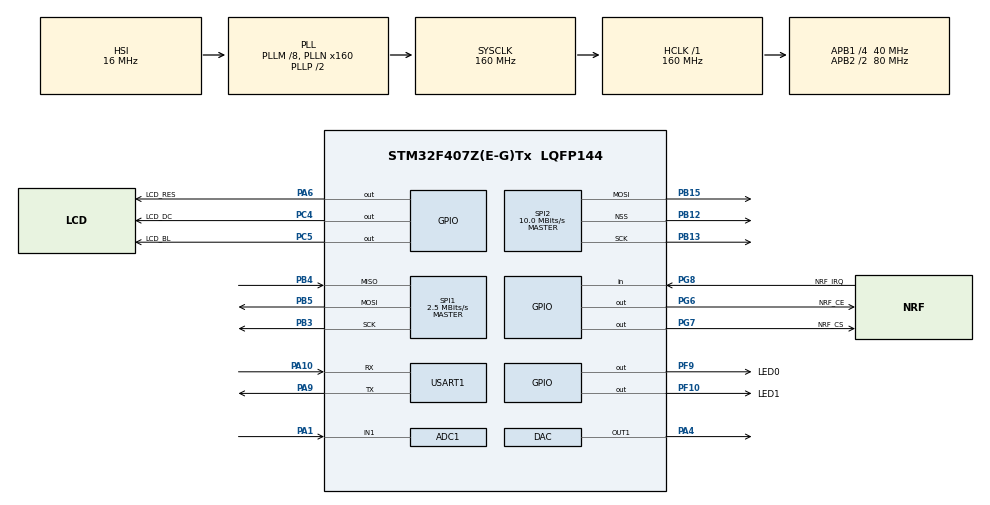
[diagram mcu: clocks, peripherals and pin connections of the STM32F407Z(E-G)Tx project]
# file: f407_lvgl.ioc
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ADC1.Channel-1\#ChannelRegularConversion=ADC_CHANNEL_1
ADC1.ExternalTrigConv=ADC_EXTERNALTRIGCONV_T3_TRGO
ADC1.NbrOfConversion=1
ADC1.NbrOfConversionFlag=1
ADC1.Rank-1\#ChannelRegularConversion=1
ADC1.SamplingTime-1\#ChannelRegularConversion=ADC_SAMPLETIME_15CYCLES
ADC1.master=1
DAC.DAC_Trigger=DAC_TRIGGER_T5_TRGO
Dma.ADC1.2.Direction=DMA_PERIPH_TO_MEMORY
Dma.ADC1.2.FIFOMode=DMA_FIFOMODE_DISABLE
Dma.ADC1.2.Instance=DMA2_Stream0
Dma.ADC1.2.MemDataAlignment=DMA_MDATAALIGN_HALFWORD
Dma.ADC1.2.MemInc=DMA_MINC_ENABLE
Dma.ADC1.2.Mode=DMA_NORMAL
Dma.ADC1.2.PeriphDataAlignment=DMA_PDATAALIGN_HALFWORD
Dma.ADC1.2.PeriphInc=DMA_PINC_DISABLE
Dma.ADC1.2.Priority=DMA_PRIORITY_MEDIUM
Dma.DAC1.1.Direction=DMA_MEMORY_TO_PERIPH
Dma.DAC1.1.FIFOMode=DMA_FIFOMODE_DISABLE
Dma.DAC1.1.Instance=DMA1_Stream5
Dma.DAC1.1.MemDataAlignment=DMA_MDATAALIGN_HALFWORD
Dma.DAC1.1.MemInc=DMA_MINC_ENABLE
Dma.DAC1.1.Mode=DMA_NORMAL
Dma.DAC1.1.PeriphDataAlignment=DMA_PDATAALIGN_HALFWORD
Dma.DAC1.1.PeriphInc=DMA_PINC_DISABLE
Dma.DAC1.1.Priority=DMA_PRIORITY_MEDIUM
Dma.Request0=SPI2_TX
Dma.Request1=DAC1
Dma.Request2=ADC1
Dma.SPI2_TX.0.Direction=DMA_MEMORY_TO_PERIPH
Dma.SPI2_TX.0.FIFOMode=DMA_FIFOMODE_DISABLE
Dma.SPI2_TX.0.Instance=DMA1_Stream4
Dma.SPI2_TX.0.MemDataAlignment=DMA_MDATAALIGN_BYTE
Dma.SPI2_TX.0.MemInc=DMA_MINC_ENABLE
Dma.SPI2_TX.0.Mode=DMA_NORMAL
Dma.SPI2_TX.0.PeriphDataAlignment=DMA_PDATAALIGN_BYTE
Dma.SPI2_TX.0.PeriphInc=DMA_PINC_DISABLE
Dma.SPI2_TX.0.Priority=DMA_PRIORITY_MEDIUM
Mcu.Family=STM32F4
Mcu.Name=STM32F407Z(E-G)Tx
Mcu.Package=LQFP144
NVIC.ADC_IRQn=true\:0\:0\:false\:false\:true\:true\:true\:true
NVIC.DMA1_Stream4_IRQn=true\:0\:0\:false\:false\:true\:false\:true\:true
NVIC.DMA1_Stream5_IRQn=true\:0\:0\:false\:false\:true\:false\:true\:true
NVIC.DMA2_Stream0_IRQn=true\:0\:0\:false\:false\:true\:false\:true\:true
NVIC.PriorityGroup=NVIC_PRIORITYGROUP_4
NVIC.SPI2_IRQn=true\:0\:0\:false\:false\:true\:true\:true\:true
NVIC.TIM6_DAC_IRQn=true\:0\:0\:false\:false\:true\:true\:true\:true
NVIC.USART1_IRQn=true\:0\:0\:false\:false\:true\:true\:true\:true
PA1.Signal=ADCx_IN1
PA10.Mode=Asynchronous
PA10.Signal=USART1_RX
PA13.Mode=Serial_Wire
PA13.Signal=SYS_JTMS-SWDIO
PA14.Mode=Serial_Wire
PA14.Signal=SYS_JTCK-SWCLK
PA4.Signal=COMP_DAC1_group
PA6.GPIO_Label=LCD_RES
PA6.Signal=GPIO_Output
PA9.Mode=Asynchronous
PA9.Signal=USART1_TX
PB12.Mode=NSS_Signal_Hard_Output
PB12.Signal=SPI2_NSS
PB13.Mode=TX_Only_Simplex_Unidirect_Master
PB13.Signal=SPI2_SCK
PB15.Mode=TX_Only_Simplex_Unidirect_Master
PB15.Signal=SPI2_MOSI
PB3.Mode=Full_Duplex_Master
PB3.Signal=SPI1_SCK
PB4.Mode=Full_Duplex_Master
PB4.Signal=SPI1_MISO
PB5.Mode=Full_Duplex_Master
PB5.Signal=SPI1_MOSI
PC4.GPIO_Label=LCD_DC
PC4.Signal=GPIO_Output
PC5.GPIO_Label=LCD_BL
PC5.Signal=GPIO_Output
PF10.GPIO_Label=LED1
PF10.Signal=GPIO_Output
PF9.GPIO_Label=LED0
PF9.Signal=GPIO_Output
PG6.GPIO_Label=NRF_CE
PG6.Signal=GPIO_Output
PG7.GPIO_Label=NRF_CS
PG7.Signal=GPIO_Output
PG8.GPIO_Label=NRF_IRQ
PG8.Signal=GPIO_Input
PH0-OSC_IN.Mode=HSE-External-Clock-Source
PH0-OSC_IN.Signal=RCC_OSC_IN
PH1-OSC_OUT.Mode=HSE-External-Clock-Source
PH1-OSC_OUT.Signal=RCC_OSC_OUT
ProjectManager.HeapSize=0x2000
ProjectManager.StackSize=0x2000
ProjectManager.TargetToolchain=Makefile
RCC.48MHZClocksFreq_Value=80000000
RCC.AHBFreq_Value=160000000
RCC.APB1CLKDivider=RCC_HCLK_DIV4
RCC.APB1Freq_Value=40000000
RCC.APB1TimFreq_Value=80000000
RCC.APB2CLKDivider=RCC_HCLK_DIV2
RCC.APB2Freq_Value=80000000
RCC.APB2TimFreq_Value=160000000
RCC.CortexFreq_Value=160000000
RCC.HCLKFreq_Value=160000000
RCC.HSE_VALUE=8000000
RCC.HSI_VALUE=16000000
RCC.LSE_VALUE=32768
RCC.PLLM=8
RCC.PLLN=160
RCC.SYSCLKFreq_VALUE=160000000
RCC.SYSCLKSource=RCC_SYSCLKSOURCE_PLLCLK
RCC.VCOOutputFreq_Value=320000000
SH.ADCx_IN1.0=ADC1_IN1,IN1
SH.COMP_DAC1_group.0=DAC_OUT1,DAC_OUT1
SPI1.BaudRatePrescaler=SPI_BAUDRATEPRESCALER_32
SPI1.CalculateBaudRate=2.5 MBits/s
SPI1.Direction=SPI_DIRECTION_2LINES
SPI1.Mode=SPI_MODE_MASTER
SPI1.VirtualType=VM_MASTER
SPI2.BaudRatePrescaler=SPI_BAUDRATEPRESCALER_4
SPI2.CalculateBaudRate=10.0 MBits/s
SPI2.Direction=SPI_DIRECTION_2LINES
SPI2.Mode=SPI_MODE_MASTER
SPI2.VirtualNSS=VM_NSSHARD
SPI2.VirtualType=VM_MASTER
TIM3.AutoReloadPreload=TIM_AUTORELOAD_PRELOAD_ENABLE
TIM3.Period=8330
TIM3.Prescaler=0
TIM3.TIM_MasterOutputTrigger=TIM_TRGO_UPDATE
TIM5.AutoReloadPreload=TIM_AUTORELOAD_PRELOAD_ENABLE
TIM5.Channel-Output\ Compare1\ No\ Output=TIM_CHANNEL_1
TIM5.Period=8330
TIM5.TIM_MasterOutputTrigger=TIM_TRGO_UPDATE
USART1.VirtualMode=VM_ASYNC
VP_TIM3_VS_ClockSourceINT.Mode=Internal
VP_TIM5_VS_no_output1.Mode=Output Compare1 No Output
board=custom

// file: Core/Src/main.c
/* USER CODE BEGIN Header */
/**
  ******************************************************************************
  * @file           : main.c
  * @brief          : Main program body
  ******************************************************************************
  * @attention
  *
  * Copyright (c) 2023 STMicroelectronics.
  * All rights reserved.
  *
  * This software is licensed under terms that can be found in the LICENSE file
  * in the root directory of this software component.
  * If no LICENSE file comes with this software, it is provided AS-IS.
  *
  ******************************************************************************
  */
/* USER CODE END Header */
#include "main.h"

/* USER CODE BEGIN Includes */
#include "lvgl.h"
#include "lv_port_disp.h"
#include "transport.h"
#include "audio.h"
#include "Ci24R1.h"
/* USER CODE END Includes */

/* USER CODE BEGIN PD */
#define MODE_24L01_IS_RX (0)
/* USER CODE END PD */

ADC_HandleTypeDef hadc1;
DMA_HandleTypeDef hdma_adc1;

DAC_HandleTypeDef hdac;
DMA_HandleTypeDef hdma_dac1;

SPI_HandleTypeDef hspi1;
SPI_HandleTypeDef hspi2;
DMA_HandleTypeDef hdma_spi2_tx;

TIM_HandleTypeDef htim3;
TIM_HandleTypeDef htim5;

UART_HandleTypeDef huart1;

/* USER CODE BEGIN PV */
uint32_t timestamp;
/* USER CODE END PV */

void SystemClock_Config(void);
static void MX_GPIO_Init(void);
static void MX_DMA_Init(void);
static void MX_USART1_UART_Init(void);
static void MX_ADC1_Init(void);
static void MX_SPI2_Init(void);
static void MX_DAC_Init(void);
static void MX_TIM3_Init(void);
static void MX_TIM5_Init(void);
static void MX_SPI1_Init(void);

int main(void)
{

  /* MCU Configuration--------------------------------------------------------*/

  /* Reset of all peripherals, Initializes the Flash interface and the Systick. */
  HAL_Init();

  /* Configure the system clock */
  SystemClock_Config();

  /* Initialize all configured peripherals */
  MX_GPIO_Init();
  MX_DMA_Init();
  MX_USART1_UART_Init();
  MX_ADC1_Init();
  MX_SPI2_Init();
  MX_DAC_Init();
  MX_TIM3_Init();
  MX_TIM5_Init();
  MX_SPI1_Init();
  /* USER CODE BEGIN 2 */
  HAL_Delay(500); // 延时等屏幕上电
  lv_init(); /* lvgl 系统初始化 */
  lv_port_disp_init(); /* lvgl 显示接口初始化,放在 lv_init()的后面 */
  lv_obj_t *label = lv_label_create(lv_scr_act());
  lv_label_set_text(label, "Hello LVGL  :- )");
  lv_obj_center(label);

  // timestamp = HAL_GetTick();
  // for(int i = 0; i < 100; i++){
  //   transport_test();
  // }
  // volatile uint32_t diffTime = HAL_GetTick() - timestamp;

  audio_init();

  Ci24R1_Init();
  while(Ci24R1_Check()==1);
#if MODE_24L01_IS_RX
  Ci24R1_RX_Mode();
#else
  Ci24R1_TX_Mode();
#endif
  /* USER CODE END 2 */

  /* Infinite loop */
  /* USER CODE BEGIN WHILE */
  while (1)
  {
  #if MODE_24L01_IS_RX
    if (HAL_GetTick() - timestamp >= 1) {
  #else
    if (HAL_GetTick() - timestamp >= 3) {
  #endif
      timestamp = HAL_GetTick();
      HAL_GPIO_TogglePin(LED0_GPIO_Port, LED0_Pin);
    #if MODE_24L01_IS_RX
      if(!Ci24R1_RxPacket()) {
        HAL_GPIO_TogglePin(LED1_GPIO_Port, LED1_Pin);    // 接收成功 闪灯提示
      }
    #else
      if(TX_OK == Ci24R1_TxPacket()) {
        HAL_GPIO_TogglePin(LED1_GPIO_Port, LED1_Pin);    // 接收成功 闪灯提示
      }
    #endif
    }
    lv_timer_handler();
    audio_main();
    /* USER CODE END WHILE */

  }
}

void SystemClock_Config(void)
{
  RCC_OscInitTypeDef RCC_OscInitStruct = {0};
  RCC_ClkInitTypeDef RCC_ClkInitStruct = {0};

  /** Configure the main internal regulator output voltage
  */
  __HAL_RCC_PWR_CLK_ENABLE();
  __HAL_PWR_VOLTAGESCALING_CONFIG(PWR_REGULATOR_VOLTAGE_SCALE1);

  /** Initializes the RCC Oscillators according to the specified parameters
  * in the RCC_OscInitTypeDef structure.
  */
  RCC_OscInitStruct.OscillatorType = RCC_OSCILLATORTYPE_HSI;
  RCC_OscInitStruct.HSIState = RCC_HSI_ON;
  RCC_OscInitStruct.HSICalibrationValue = RCC_HSICALIBRATION_DEFAULT;
  RCC_OscInitStruct.PLL.PLLState = RCC_PLL_ON;
  RCC_OscInitStruct.PLL.PLLSource = RCC_PLLSOURCE_HSI;
  RCC_OscInitStruct.PLL.PLLM = 8;
  RCC_OscInitStruct.PLL.PLLN = 160;
  RCC_OscInitStruct.PLL.PLLP = RCC_PLLP_DIV2;
  RCC_OscInitStruct.PLL.PLLQ = 4;
  if (HAL_RCC_OscConfig(&RCC_OscInitStruct) != HAL_OK)
  {
    Error_Handler();
  }

  /** Initializes the CPU, AHB and APB buses clocks
  */
  RCC_ClkInitStruct.ClockType = RCC_CLOCKTYPE_HCLK|RCC_CLOCKTYPE_SYSCLK
                              |RCC_CLOCKTYPE_PCLK1|RCC_CLOCKTYPE_PCLK2;
  RCC_ClkInitStruct.SYSCLKSource = RCC_SYSCLKSOURCE_PLLCLK;
  RCC_ClkInitStruct.AHBCLKDivider = RCC_SYSCLK_DIV1;
  RCC_ClkInitStruct.APB1CLKDivider = RCC_HCLK_DIV4;
  RCC_ClkInitStruct.APB2CLKDivider = RCC_HCLK_DIV2;

  if (HAL_RCC_ClockConfig(&RCC_ClkInitStruct, FLASH_LATENCY_5) != HAL_OK)
  {
    Error_Handler();
  }
}

static void MX_ADC1_Init(void)
{

  ADC_ChannelConfTypeDef sConfig = {0};

  /** Configure the global features of the ADC (Clock, Resolution, Data Alignment and number of conversion)
  */
  hadc1.Instance = ADC1;
  hadc1.Init.ClockPrescaler = ADC_CLOCK_SYNC_PCLK_DIV4;
  hadc1.Init.Resolution = ADC_RESOLUTION_12B;
  hadc1.Init.ScanConvMode = DISABLE;
  hadc1.Init.ContinuousConvMode = DISABLE;
  hadc1.Init.DiscontinuousConvMode = DISABLE;
  hadc1.Init.ExternalTrigConvEdge = ADC_EXTERNALTRIGCONVEDGE_RISING;
  hadc1.Init.ExternalTrigConv = ADC_EXTERNALTRIGCONV_T3_TRGO;
  hadc1.Init.DataAlign = ADC_DATAALIGN_RIGHT;
  hadc1.Init.NbrOfConversion = 1;
  hadc1.Init.DMAContinuousRequests = DISABLE;
  hadc1.Init.EOCSelection = ADC_EOC_SINGLE_CONV;
  if (HAL_ADC_Init(&hadc1) != HAL_OK)
  {
    Error_Handler();
  }

  /** Configure for the selected ADC regular channel its corresponding rank in the sequencer and its sample time.
  */
  sConfig.Channel = ADC_CHANNEL_1;
  sConfig.Rank = 1;
  sConfig.SamplingTime = ADC_SAMPLETIME_15CYCLES;
  if (HAL_ADC_ConfigChannel(&hadc1, &sConfig) != HAL_OK)
  {
    Error_Handler();
  }

}

static void MX_DAC_Init(void)
{

  DAC_ChannelConfTypeDef sConfig = {0};

  /** DAC Initialization
  */
  hdac.Instance = DAC;
  if (HAL_DAC_Init(&hdac) != HAL_OK)
  {
    Error_Handler();
  }

  /** DAC channel OUT1 config
  */
  sConfig.DAC_Trigger = DAC_TRIGGER_T5_TRGO;
  sConfig.DAC_OutputBuffer = DAC_OUTPUTBUFFER_ENABLE;
  if (HAL_DAC_ConfigChannel(&hdac, &sConfig, DAC_CHANNEL_1) != HAL_OK)
  {
    Error_Handler();
  }

}

static void MX_SPI1_Init(void)
{

  /* SPI1 parameter configuration*/
  hspi1.Instance = SPI1;
  hspi1.Init.Mode = SPI_MODE_MASTER;
  hspi1.Init.Direction = SPI_DIRECTION_2LINES;
  hspi1.Init.DataSize = SPI_DATASIZE_8BIT;
  hspi1.Init.CLKPolarity = SPI_POLARITY_LOW;
  hspi1.Init.CLKPhase = SPI_PHASE_1EDGE;
  hspi1.Init.NSS = SPI_NSS_SOFT;
  hspi1.Init.BaudRatePrescaler = SPI_BAUDRATEPRESCALER_32;
  hspi1.Init.FirstBit = SPI_FIRSTBIT_MSB;
  hspi1.Init.TIMode = SPI_TIMODE_DISABLE;
  hspi1.Init.CRCCalculation = SPI_CRCCALCULATION_DISABLE;
  hspi1.Init.CRCPolynomial = 10;
  if (HAL_SPI_Init(&hspi1) != HAL_OK)
  {
    Error_Handler();
  }

}

static void MX_SPI2_Init(void)
{

  /* SPI2 parameter configuration*/
  hspi2.Instance = SPI2;
  hspi2.Init.Mode = SPI_MODE_MASTER;
  hspi2.Init.Direction = SPI_DIRECTION_2LINES;
  hspi2.Init.DataSize = SPI_DATASIZE_8BIT;
  hspi2.Init.CLKPolarity = SPI_POLARITY_LOW;
  hspi2.Init.CLKPhase = SPI_PHASE_1EDGE;
  hspi2.Init.NSS = SPI_NSS_HARD_OUTPUT;
  hspi2.Init.BaudRatePrescaler = SPI_BAUDRATEPRESCALER_4;
  hspi2.Init.FirstBit = SPI_FIRSTBIT_MSB;
  hspi2.Init.TIMode = SPI_TIMODE_DISABLE;
  hspi2.Init.CRCCalculation = SPI_CRCCALCULATION_DISABLE;
  hspi2.Init.CRCPolynomial = 10;
  if (HAL_SPI_Init(&hspi2) != HAL_OK)
  {
    Error_Handler();
  }

}

static void MX_TIM3_Init(void)
{

  TIM_ClockConfigTypeDef sClockSourceConfig = {0};
  TIM_MasterConfigTypeDef sMasterConfig = {0};

  htim3.Instance = TIM3;
  htim3.Init.Prescaler = 0;
  htim3.Init.CounterMode = TIM_COUNTERMODE_UP;
  htim3.Init.Period = 8330;
  htim3.Init.ClockDivision = TIM_CLOCKDIVISION_DIV1;
  htim3.Init.AutoReloadPreload = TIM_AUTORELOAD_PRELOAD_ENABLE;
  if (HAL_TIM_Base_Init(&htim3) != HAL_OK)
  {
    Error_Handler();
  }
  sClockSourceConfig.ClockSource = TIM_CLOCKSOURCE_INTERNAL;
  if (HAL_TIM_ConfigClockSource(&htim3, &sClockSourceConfig) != HAL_OK)
  {
    Error_Handler();
  }
  sMasterConfig.MasterOutputTrigger = TIM_TRGO_UPDATE;
  sMasterConfig.MasterSlaveMode = TIM_MASTERSLAVEMODE_DISABLE;
  if (HAL_TIMEx_MasterConfigSynchronization(&htim3, &sMasterConfig) != HAL_OK)
  {
    Error_Handler();
  }

}

static void MX_TIM5_Init(void)
{

  TIM_MasterConfigTypeDef sMasterConfig = {0};
  TIM_OC_InitTypeDef sConfigOC = {0};

  htim5.Instance = TIM5;
  htim5.Init.Prescaler = 0;
  htim5.Init.CounterMode = TIM_COUNTERMODE_UP;
  htim5.Init.Period = 8330;
  htim5.Init.ClockDivision = TIM_CLOCKDIVISION_DIV1;
  htim5.Init.AutoReloadPreload = TIM_AUTORELOAD_PRELOAD_ENABLE;
  if (HAL_TIM_OC_Init(&htim5) != HAL_OK)
  {
    Error_Handler();
  }
  sMasterConfig.MasterOutputTrigger = TIM_TRGO_UPDATE;
  sMasterConfig.MasterSlaveMode = TIM_MASTERSLAVEMODE_DISABLE;
  if (HAL_TIMEx_MasterConfigSynchronization(&htim5, &sMasterConfig) != HAL_OK)
  {
    Error_Handler();
  }
  sConfigOC.OCMode = TIM_OCMODE_TIMING;
  sConfigOC.Pulse = 0;
  sConfigOC.OCPolarity = TIM_OCPOLARITY_HIGH;
  sConfigOC.OCFastMode = TIM_OCFAST_DISABLE;
  if (HAL_TIM_OC_ConfigChannel(&htim5, &sConfigOC, TIM_CHANNEL_1) != HAL_OK)
  {
    Error_Handler();
  }

}

static void MX_USART1_UART_Init(void)
{

  huart1.Instance = USART1;
  huart1.Init.BaudRate = 115200;
  huart1.Init.WordLength = UART_WORDLENGTH_8B;
  huart1.Init.StopBits = UART_STOPBITS_1;
  huart1.Init.Parity = UART_PARITY_NONE;
  huart1.Init.Mode = UART_MODE_TX_RX;
  huart1.Init.HwFlowCtl = UART_HWCONTROL_NONE;
  huart1.Init.OverSampling = UART_OVERSAMPLING_16;
  if (HAL_UART_Init(&huart1) != HAL_OK)
  {
    Error_Handler();
  }

}

static void MX_DMA_Init(void)
{

  /* DMA controller clock enable */
  __HAL_RCC_DMA1_CLK_ENABLE();
  __HAL_RCC_DMA2_CLK_ENABLE();

  /* DMA interrupt init */
  /* DMA1_Stream4_IRQn interrupt configuration */
  HAL_NVIC_SetPriority(DMA1_Stream4_IRQn, 0, 0);
  HAL_NVIC_EnableIRQ(DMA1_Stream4_IRQn);
  /* DMA1_Stream5_IRQn interrupt configuration */
  HAL_NVIC_SetPriority(DMA1_Stream5_IRQn, 0, 0);
  HAL_NVIC_EnableIRQ(DMA1_Stream5_IRQn);
  /* DMA2_Stream0_IRQn interrupt configuration */
  HAL_NVIC_SetPriority(DMA2_Stream0_IRQn, 0, 0);
  HAL_NVIC_EnableIRQ(DMA2_Stream0_IRQn);

}

static void MX_GPIO_Init(void)
{
  GPIO_InitTypeDef GPIO_InitStruct = {0};

  /* GPIO Ports Clock Enable */
  __HAL_RCC_GPIOF_CLK_ENABLE();
  __HAL_RCC_GPIOH_CLK_ENABLE();
  __HAL_RCC_GPIOA_CLK_ENABLE();
  __HAL_RCC_GPIOC_CLK_ENABLE();
  __HAL_RCC_GPIOB_CLK_ENABLE();
  __HAL_RCC_GPIOG_CLK_ENABLE();

  /*Configure GPIO pin Output Level */
  HAL_GPIO_WritePin(GPIOF, LED0_Pin|LED1_Pin, GPIO_PIN_RESET);

  /*Configure GPIO pin Output Level */
  HAL_GPIO_WritePin(LCD_RES_GPIO_Port, LCD_RES_Pin, GPIO_PIN_RESET);

  /*Configure GPIO pin Output Level */
  HAL_GPIO_WritePin(GPIOC, LCD_DC_Pin|LCD_BL_Pin, GPIO_PIN_RESET);

  /*Configure GPIO pin Output Level */
  HAL_GPIO_WritePin(GPIOG, NRF_CE_Pin|NRF_CS_Pin, GPIO_PIN_RESET);

  /*Configure GPIO pins : LED0_Pin LED1_Pin */
  GPIO_InitStruct.Pin = LED0_Pin|LED1_Pin;
  GPIO_InitStruct.Mode = GPIO_MODE_OUTPUT_PP;
  GPIO_InitStruct.Pull = GPIO_NOPULL;
  GPIO_InitStruct.Speed = GPIO_SPEED_FREQ_LOW;
  HAL_GPIO_Init(GPIOF, &GPIO_InitStruct);

  /*Configure GPIO pin : LCD_RES_Pin */
  GPIO_InitStruct.Pin = LCD_RES_Pin;
  GPIO_InitStruct.Mode = GPIO_MODE_OUTPUT_PP;
  GPIO_InitStruct.Pull = GPIO_NOPULL;
  GPIO_InitStruct.Speed = GPIO_SPEED_FREQ_LOW;
  HAL_GPIO_Init(LCD_RES_GPIO_Port, &GPIO_InitStruct);

  /*Configure GPIO pins : LCD_DC_Pin LCD_BL_Pin */
  GPIO_InitStruct.Pin = LCD_DC_Pin|LCD_BL_Pin;
  GPIO_InitStruct.Mode = GPIO_MODE_OUTPUT_PP;
  GPIO_InitStruct.Pull = GPIO_NOPULL;
  GPIO_InitStruct.Speed = GPIO_SPEED_FREQ_LOW;
  HAL_GPIO_Init(GPIOC, &GPIO_InitStruct);

  /*Configure GPIO pins : NRF_CE_Pin NRF_CS_Pin */
  GPIO_InitStruct.Pin = NRF_CE_Pin|NRF_CS_Pin;
  GPIO_InitStruct.Mode = GPIO_MODE_OUTPUT_PP;
  GPIO_InitStruct.Pull = GPIO_NOPULL;
  GPIO_InitStruct.Speed = GPIO_SPEED_FREQ_LOW;
  HAL_GPIO_Init(GPIOG, &GPIO_InitStruct);

  /*Configure GPIO pin : NRF_IRQ_Pin */
  GPIO_InitStruct.Pin = NRF_IRQ_Pin;
  GPIO_InitStruct.Mode = GPIO_MODE_INPUT;
  GPIO_InitStruct.Pull = GPIO_NOPULL;
  HAL_GPIO_Init(NRF_IRQ_GPIO_Port, &GPIO_InitStruct);

}

void Error_Handler(void)
{
  __disable_irq();
  while (1)
  {
  }
}
